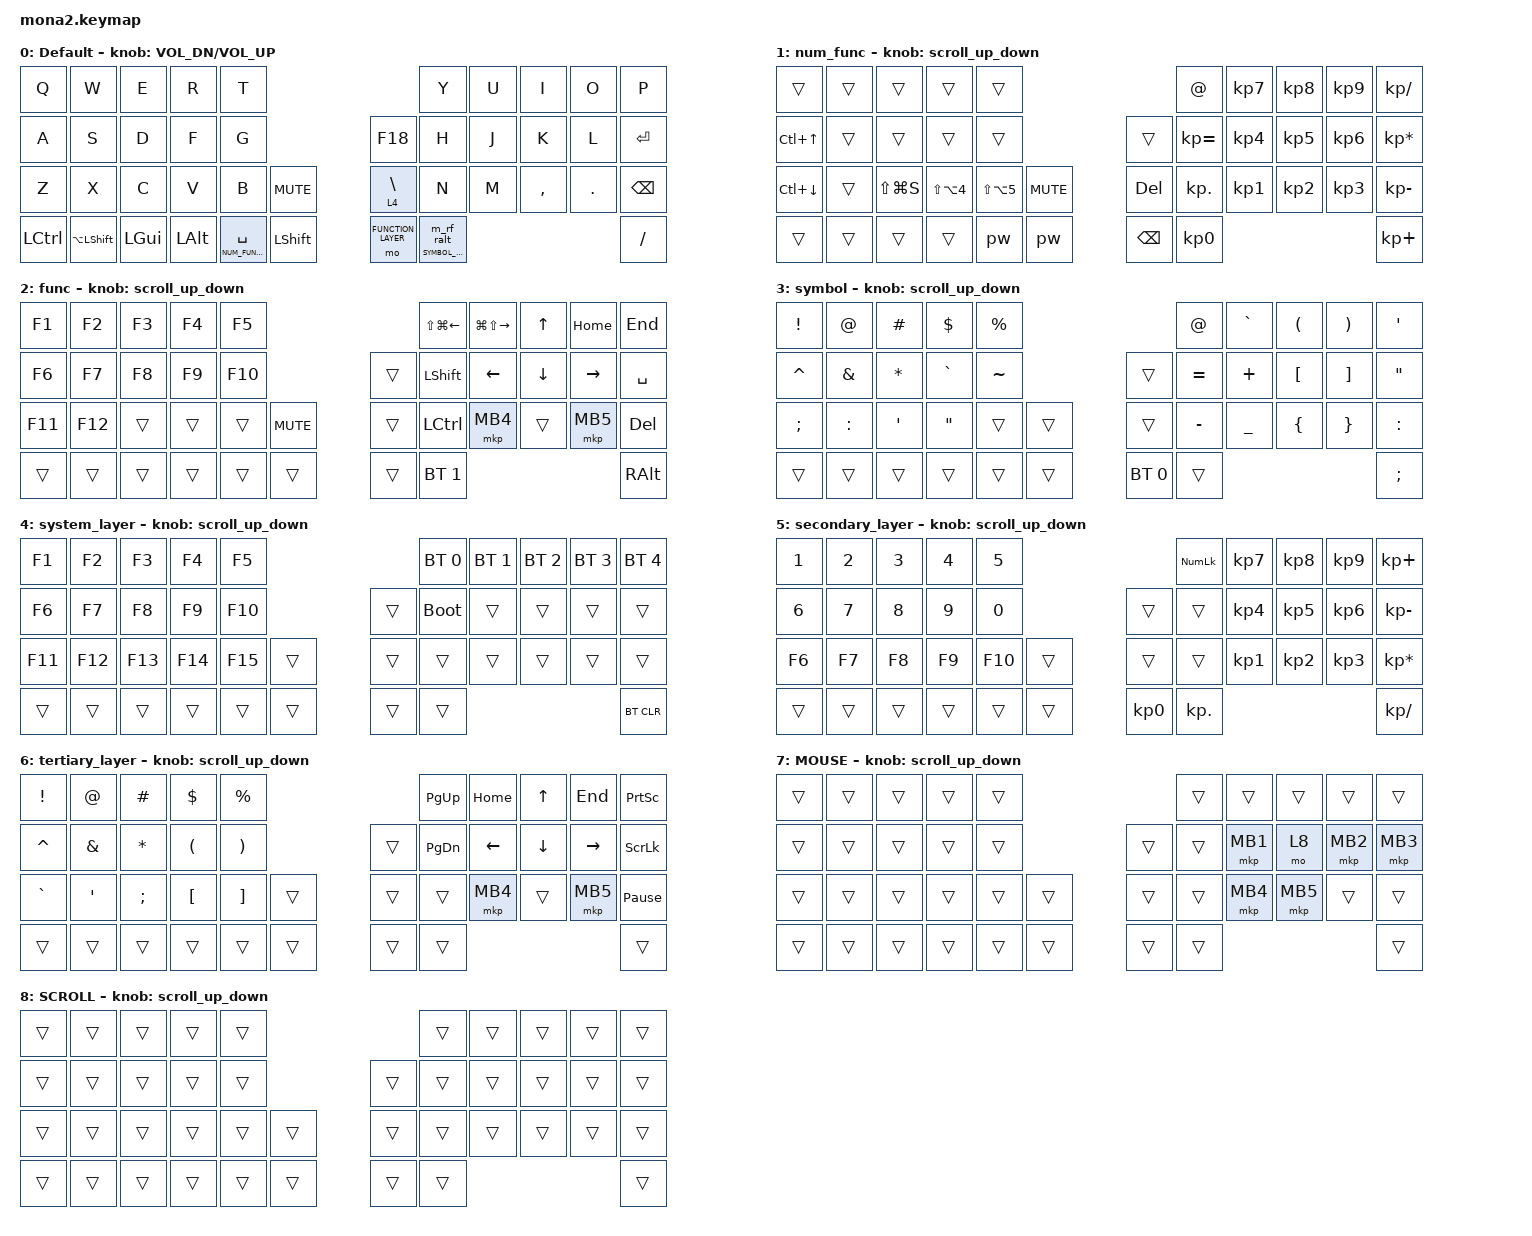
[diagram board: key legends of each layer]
#include <input/processors.dtsi>
#include <behaviors.dtsi>
#include <dt-bindings/zmk/bt.h>
#include <dt-bindings/zmk/keys.h>
#include <dt-bindings/zmk/pointing.h>

#define DEFAULT_LAYER 0
#define NUM_FUNC_LAYER 1
#define FUNCTION_LAYER 2
#define SYMBOL_LAYER 3
#define SYSTEM_LAYER 4
#define SECONDARY_LAYER 5
#define TERTIARY_LAYER 6
#define MOUSE_LAYER 7
#define SCROLL_LAYER 8

&mt { quick-tap-ms = <200>; };

&lt { quick-tap-ms = <200>; };

/ {
    behaviors {
        mt2: mod_tap2 {
            compatible = "zmk,behavior-hold-tap";
            #binding-cells = <2>;
            flavor = "tap-preferred";
            tapping-term-ms = <200>;
            quick-tap-ms = <200>;
            require-prior-idle-ms = <125>;
            bindings = <&kp>, <&kp>;
        };

        shift_ctl: shift_ctl {
            compatible = "zmk,behavior-tap-dance";
            label = "SHIFT_CTL";
            #binding-cells = <0>;
            bindings = <&kp RIGHT_SHIFT>, <&kp RCTRL>;
        };

        lr_ralt: lr_ralt {
            compatible = "zmk,behavior-hold-tap";
            #binding-cells = <2>;
            flavor = "tap-preferred";
            tapping-term-ms = <200>;
            bindings = <&mo>, <&m_rf_ralt>;
        };

        scroll_up_down: mouse_wheel_up_down {
            compatible = "zmk,behavior-sensor-rotate";
            #sensor-binding-cells = <0>;
            bindings = <&msc SCRL_DOWN>, <&msc SCRL_UP>;

            tap-ms = <20>;
        };
    };

    combos {
        compatible = "zmk,combos";

        combo_tab_top {
            bindings = <&kp TAB>;
            key-positions = <0 1>;
        };

        combo_capslock {
            bindings = <&kp CAPSLOCK>;
            key-positions = <10 11>;
        };

        combo_escape {
            bindings = <&kp ESCAPE>;
            key-positions = <3 4>;
        };

        combo_tab_home {
            bindings = <&kp TAB>;
            key-positions = <12 13>;
        };

        zundastop {
            bindings = <&kp LA(LC(LG(S)))>;
            key-positions = <16 17>;
        };

        left_click {
            bindings = <&mkp MB1>;
            key-positions = <17 18>;
        };

        mid_click {
            bindings = <&mkp MB3>;
            key-positions = <18 17 19>;
        };

        right_click {
            bindings = <&mkp MB2>;
            key-positions = <18 19>;
        };
    };

    macros {
        pw: pw {
            compatible = "zmk,behavior-macro";
            #binding-cells = <0>;
            bindings = <&kp LS(T) &kp S &kp H &kp I &kp O &kp R &kp I &kp AT &kp NUMBER_0 &kp NUMBER_6 &kp NUMBER_0 &kp NUMBER_4 &kp ENTER>;
            label = "PW";
        };

        m_rf_ralt: m_rf_ralt {
            compatible = "zmk,behavior-macro";
            #binding-cells = <0>;
            tap-ms = <75>;
            bindings = <&kp RALT>;
        };
    };

    keymap {
        compatible = "zmk,keymap";

        default_layer {
            display-name = "Default";
            bindings = <
&kp Q      &kp W               &kp E         &kp R         &kp T                                                             &kp Y                    &kp U  &kp I      &kp O       &kp P
&kp A      &kp S               &kp D         &kp F         &kp G                                         &kp F18             &kp H                    &kp J  &kp K      &kp L       &kp ENTER
&kp Z      &kp X               &kp C         &kp V         &kp B                     &kp C_MUTE          &lt 4 BACKSLASH     &kp N                    &kp M  &kp COMMA  &kp PERIOD  &kp BACKSPACE
&kp LCTRL  &kp LA(LEFT_SHIFT)  &kp LEFT_GUI  &kp LEFT_ALT  &lt NUM_FUNC_LAYER SPACE  &kp LEFT_SHIFT      &mo FUNCTION_LAYER  &lr_ralt SYMBOL_LAYER 0                                &kp SLASH
            >;

            sensor-bindings = <&inc_dec_kp C_VOL_DN C_VOLUME_UP>;
        };

        num_func_layer {
            display-name = "num_func";
            bindings = <
&trans              &trans  &trans         &trans                &trans                                               &kp AT_SIGN      &kp KP_NUMBER_7  &kp KP_NUMBER_8  &kp KP_NUMBER_9  &kp KP_DIVIDE
&kp LC(UP_ARROW)    &trans  &trans         &trans                &trans                                &trans         &kp KP_EQUAL     &kp KP_NUMBER_4  &kp KP_NUMBER_5  &kp KP_NUMBER_6  &kp KP_MULTIPLY
&kp LC(DOWN_ARROW)  &trans  &kp LS(LG(S))  &kp LS(LA(NUMBER_4))  &kp LS(LA(NUMBER_5))  &kp C_MUTE      &kp DELETE     &kp KP_DOT       &kp KP_NUMBER_1  &kp KP_NUMBER_2  &kp KP_NUMBER_3  &kp KP_MINUS
&trans              &trans  &trans         &trans                &pw                   &pw             &kp BACKSPACE  &kp KP_NUMBER_0                                                     &kp KP_PLUS
            >;

            sensor-bindings = <&scroll_up_down>;
        };

        function_layer {
            display-name = "func";
            bindings = <
&kp F1   &kp F2   &kp F3  &kp F4  &kp F5                           &kp LS(LG(LEFT_ARROW))  &kp LG(LS(RIGHT_ARROW))  &kp UP    &kp HOME   &kp END
&kp F6   &kp F7   &kp F8  &kp F9  &kp F10                  &trans  &kp LSHFT               &kp LEFT                 &kp DOWN  &kp RIGHT  &kp SPACE
&kp F11  &kp F12  &trans  &trans  &trans   &kp C_MUTE      &trans  &kp LCTRL               &mkp MB4                 &trans    &mkp MB5   &kp DEL
&trans   &trans   &trans  &trans  &trans   &trans          &trans  &bt BT_SEL 1                                                          &kp RIGHT_ALT
            >;

            sensor-bindings = <&scroll_up_down>;
        };

        symbol_layer {
            display-name = "symbol";
            bindings = <
&kp EXCLAMATION  &kp AT_SIGN    &kp HASH      &kp DOLLAR         &kp PERCENT                            &kp AT_SIGN  &kp GRAVE       &kp LEFT_PARENTHESIS  &kp RIGHT_PARENTHESIS  &kp SQT
&kp CARET        &kp AMPERSAND  &kp ASTERISK  &kp GRAVE          &kp TILDE                &trans        &kp EQUAL    &kp PLUS        &kp LBKT              &kp RBKT               &kp DOUBLE_QUOTES
&kp SEMICOLON    &kp COLON      &kp SQT       &kp DOUBLE_QUOTES  &trans       &trans      &trans        &kp MINUS    &kp UNDERSCORE  &kp LEFT_BRACE        &kp RIGHT_BRACE        &kp COLON
&trans           &trans         &trans        &trans             &trans       &trans      &bt BT_SEL 0  &trans                                                                    &kp SEMI
            >;

            sensor-bindings = <&scroll_up_down>;
        };

        system_layer {
            display-name = "system_layer";
            bindings = <
&kp F1   &kp F2   &kp F3   &kp F4   &kp F5                       &bt BT_SEL 0  &bt BT_SEL 1  &bt BT_SEL 2  &bt BT_SEL 3  &bt BT_SEL 4
&kp F6   &kp F7   &kp F8   &kp F9   &kp F10              &trans  &bootloader   &trans        &trans        &trans        &trans
&kp F11  &kp F12  &kp F13  &kp F14  &kp F15  &trans      &trans  &trans        &trans        &trans        &trans        &trans
&trans   &trans   &trans   &trans   &trans   &trans      &trans  &trans                                                  &bt BT_CLR
            >;

            sensor-bindings = <&scroll_up_down>;
        };

        secondary_layer {
            display-name = "secondary_layer";
            bindings = <
&kp NUMBER_1  &kp NUMBER_2  &kp NUMBER_3  &kp NUMBER_4  &kp N5                                &kp KP_NUMLOCK  &kp KP_NUMBER_7  &kp KP_NUMBER_8  &kp KP_NUMBER_9  &kp KP_PLUS
&kp NUMBER_6  &kp N7        &kp N8        &kp N9        &kp N0               &trans           &trans          &kp KP_NUMBER_4  &kp KP_NUMBER_5  &kp KP_NUMBER_6  &kp KP_MINUS
&kp F6        &kp F7        &kp F8        &kp F9        &kp F10  &trans      &trans           &trans          &kp KP_NUMBER_1  &kp KP_NUMBER_2  &kp KP_NUMBER_3  &kp KP_ASTERISK
&trans        &trans        &trans        &trans        &trans   &trans      &kp KP_NUMBER_0  &kp KP_DOT                                                         &kp KP_DIVIDE
            >;

            sensor-bindings = <&scroll_up_down>;
        };

        tertiary_layer {
            display-name = "tertiary_layer";
            bindings = <
&kp EXCLAMATION  &kp AT_SIGN    &kp HASH      &kp DOLLAR            &kp PERCENT                                &kp PAGE_UP    &kp HOME  &kp UP_ARROW    &kp END    &kp PRINTSCREEN
&kp CARET        &kp AMPERSAND  &kp ASTERISK  &kp LEFT_PARENTHESIS  &kp RIGHT_PARENTHESIS              &trans  &kp PAGE_DOWN  &kp LEFT  &kp DOWN_ARROW  &kp RIGHT  &kp SCROLLLOCK
&kp GRAVE        &kp SQT        &kp SEMI      &kp LEFT_BRACKET      &kp RIGHT_BRACKET      &trans      &trans  &trans         &mkp MB4  &trans          &mkp MB5   &kp PAUSE_BREAK
&trans           &trans         &trans        &trans                &trans                 &trans      &trans  &trans                                              &trans
            >;

            sensor-bindings = <&scroll_up_down>;
        };

        mouse_layer {
            display-name = "MOUSE";
            bindings = <
&trans  &trans  &trans  &trans  &trans                      &trans  &trans    &trans    &trans    &trans
&trans  &trans  &trans  &trans  &trans              &trans  &trans  &mkp MB1  &mo 8     &mkp MB2  &mkp MB3
&trans  &trans  &trans  &trans  &trans  &trans      &trans  &trans  &mkp MB4  &mkp MB5  &trans    &trans
&trans  &trans  &trans  &trans  &trans  &trans      &trans  &trans                                &trans
            >;

            sensor-bindings = <&scroll_up_down>;
        };

        scroll_layer {
            display-name = "SCROLL";
            bindings = <
&trans  &trans  &trans  &trans  &trans                      &trans  &trans  &trans  &trans  &trans
&trans  &trans  &trans  &trans  &trans              &trans  &trans  &trans  &trans  &trans  &trans
&trans  &trans  &trans  &trans  &trans  &trans      &trans  &trans  &trans  &trans  &trans  &trans
&trans  &trans  &trans  &trans  &trans  &trans      &trans  &trans                          &trans
            >;

            sensor-bindings = <&scroll_up_down>;
        };
    };
};
